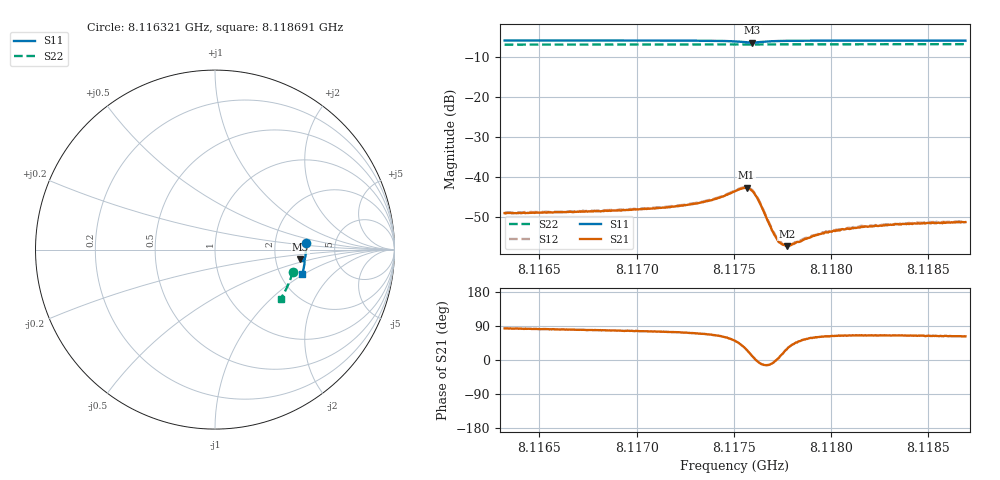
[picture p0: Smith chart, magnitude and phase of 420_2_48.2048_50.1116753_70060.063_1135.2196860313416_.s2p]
#  HZ  S  RI  R  50.00
! Rohde & Schwarz Vector Network Analyzer
! Rohde-Schwarz,ZNB20-2Port,1311601062101988,3.16
! Created: UTC 3/20/2024, 11:54:53 AM
! freq[Hz]  re:S11  im:S11  re:S21  im:S21  re:S12  im:S12  re:S22  im:S22
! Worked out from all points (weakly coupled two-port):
!   401 points, 8.116321 GHz to 8.118691 GHz, reference 50 ohm
!   highest |S21| = -42.65 dB at 8.117565 GHz (marker M1); lowest = -57.2 dB at 8.117772 GHz (marker M2)
!   lowest |S11| = -6.4 dB at 8.117595 GHz (marker M3), VSWR 2.83, Z = 139 - j19.1 ohm
!   |S11| at or under -10 dB: nowhere
!   |S22| runs from -6.9 to -6.8 dB; largest |S21 - S12| = 0.00019
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8.1163213e9  0.5058 0.0344  0.000408 0.00353  0.000457 0.00359  0.4326 -0.1229
8.1167181e9  0.5064 0.00433  0.000677 0.00368  0.000726 0.00369  0.4252 -0.1496
8.117115e9  0.5047 -0.0268  0.00106 0.004  0.00113 0.00406  0.4162 -0.1758
8.1173342e9  0.5016 -0.046  0.00173 0.00456  0.00178 0.0046  0.4104 -0.1899
8.1174171e9  0.4984 -0.0543  0.00237 0.00494  0.00245 0.00497  0.408 -0.1954
8.1175059e9  0.4895 -0.0632  0.00424 0.00518  0.00437 0.00525  0.4051 -0.2012
8.1175355e9  0.4837 -0.0642  0.00539 0.00469  0.00554 0.00478  0.404 -0.203
8.1175652e9  0.4773 -0.061  0.00654 0.0034  0.00666 0.00339  0.4029 -0.2045
8.1175948e9  0.4752 -0.0532  0.00663 0.00117  0.0068 0.00119  0.4023 -0.2058
8.1176125e9  0.4775 -0.0488  0.00591 5.27e-05  0.00605 1.93e-05  0.4018 -0.2069
8.1176303e9  0.4815 -0.0464  0.00492 -0.000621  0.00501 -0.000677  0.4015 -0.2078
8.1176895e9  0.493 -0.0496  0.00234 -0.000445  0.00239 -0.000504  0.4005 -0.2116
8.1177192e9  0.4957 -0.0534  0.00174 2.28e-06  0.00178 -2.84e-05  0.3997 -0.2136
8.1177369e9  0.4968 -0.0559  0.00151 0.000257  0.00154 0.000234  0.399 -0.2147
8.1177488e9  0.4974 -0.0572  0.00141 0.000399  0.0014 0.000392  0.3987 -0.2155
8.1177725e9  0.4981 -0.06  0.00122 0.000653  0.00126 0.000659  0.3979 -0.2171
8.1177962e9  0.4986 -0.0628  0.00111 0.000903  0.00115 0.000873  0.3974 -0.2186
8.1179028e9  0.4988 -0.0735  0.000968 0.00155  0.000991 0.00159  0.3938 -0.2254
8.1179679e9  0.4981 -0.0793  0.000949 0.00182  0.000956 0.00182  0.3917 -0.2294
8.1180686e9  0.497 -0.0877  0.000949 0.00202  0.000976 0.00205  0.3884 -0.2357
8.1182996e9  0.4936 -0.1058  0.00107 0.0023  0.00112 0.00235  0.3803 -0.2499
8.1186906e9  0.4863 -0.1348  0.00127 0.00244  0.00131 0.00247  0.3655 -0.2729
